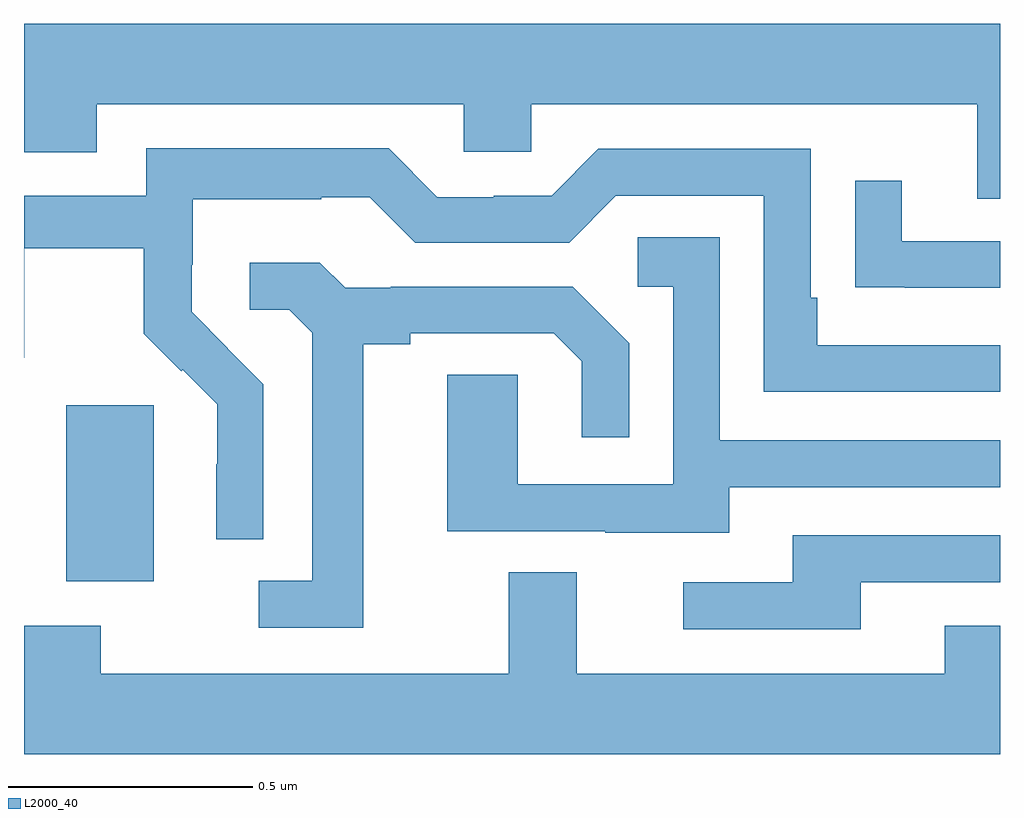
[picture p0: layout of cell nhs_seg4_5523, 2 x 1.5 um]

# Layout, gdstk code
import gdstk
lib = gdstk.Library(unit=1e-6, precision=1e-09)
def R(c, l, rs):  # rectangles x0, y0, x1, y1
    for r in rs: c.add(gdstk.rectangle(r[:2], r[2:], *l))
def P(c, l, *ps):  # polygons
    for p in ps: c.add(gdstk.Polygon(p, *l))
L2000_40 = (2000, 40)

nhs_seg4_5523 = lib.new_cell('nhs_seg4_5523')
R(nhs_seg4_5523, L2000_40, [(179.087,766.538,179.266,766.899)])
P(nhs_seg4_5523, L2000_40, [(181,767.68),(179,767.68),(179,767.417),(179.149,767.417),(179.149,767.516),(179.901,767.516),(179.901,767.418),(180.039,767.418),(180.039,767.516),(180.953,767.516),(180.953,767.322),(181,767.322)],
  [(179.49,766.942),(179.417,767.015),(179.418,767.016),(179.344,767.09),(179.344,767.187),(179.346,767.187),(179.346,767.321),(179.609,767.321),(179.609,767.325),(179.709,767.325),(179.802,767.232),(180.117,767.232),(180.213,767.328),(180.516,767.328),(180.516,766.926),(181,766.926),(181,767.022),(180.625,767.022),(180.625,767.119),(180.612,767.119),(180.612,767.424),(180.177,767.424),(180.081,767.328),(179.963,767.328),(179.963,767.325),(179.847,767.325),(179.747,767.425),(179.25,767.425),(179.25,767.328),(179,767.328),(179,766.996),(179.001,766.996),(179.001,767.22),(179.245,767.22),(179.245,767.045),(179.322,766.968),(179.325,766.971),(179.396,766.901),(179.396,766.778),(179.394,766.778),(179.394,766.624),(179.49,766.624)],
  [(181,767.235),(180.799,767.235),(180.799,767.359),(180.703,767.359),(180.703,767.14),(180.805,767.14),(180.805,767.139),(181,767.139)],
  [(180.445,766.731),(181,766.731),(181,766.827),(180.426,766.827),(180.426,767.243),(180.258,767.243),(180.258,767.142),(180.33,767.142),(180.33,766.737),(180.012,766.737),(180.012,766.961),(179.867,766.961),(179.867,766.641),(180.191,766.641),(180.191,766.637),(180.445,766.637)],
  [(179.695,767.024),(179.791,767.024),(179.791,767.046),(180.086,767.046),(180.143,766.989),(180.143,766.833),(180.24,766.833),(180.24,767.026),(180.124,767.142),(179.752,767.142),(179.752,767.139),(179.658,767.139),(179.606,767.191),(179.463,767.191),(179.463,767.094),(179.544,767.094),(179.591,767.047),(179.591,766.539),(179.481,766.539),(179.481,766.443),(179.695,766.443)],
  [(180.715,766.536),(181,766.536),(181,766.632),(180.575,766.632),(180.575,766.536),(180.351,766.536),(180.351,766.44),(180.715,766.44)],
  [(181,766.447),(180.887,766.447),(180.887,766.348),(180.133,766.348),(180.133,766.556),(179.993,766.556),(179.993,766.348),(179.157,766.348),(179.157,766.447),(179,766.447),(179,766.184),(181,766.184)])

lib.write_gds('nhs_seg4_5523.gds')
